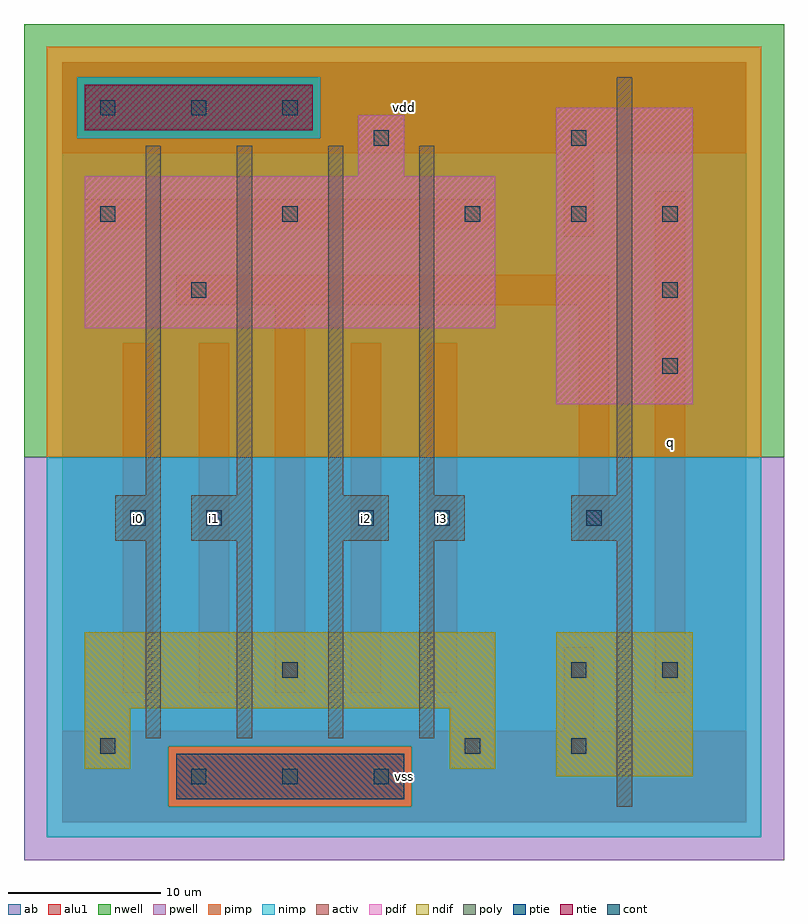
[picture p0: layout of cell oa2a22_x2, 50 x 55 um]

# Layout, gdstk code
import gdstk
lib = gdstk.Library(unit=1e-6, precision=1e-09)
def R(c, l, rs):  # rectangles x0, y0, x1, y1
    for r in rs: c.add(gdstk.rectangle(r[:2], r[2:], *l))
def A(c, l, x, y, w, h, nx, ny, dx, dy):  # array of equal rectangles
    R(c, l, [(x+i*dx, y+j*dy, x+i*dx+w, y+j*dy+h) for i in range(nx) for j in range(ny)])
ndif = (3, 0)
pdif = (4, 0)
ntie = (5, 0)
ptie = (6, 0)
cont = (25, 0)
pwell = (41, 0)
nwell = (42, 0)
activ = (43, 0)
pimp = (44, 0)
nimp = (45, 0)
poly = (46, 0)
alu1 = (49, 0)
ab = (63, 0)

oa2a22_x2 = lib.new_cell('oa2a22_x2')
R(oa2a22_x2, ndif, [(32.5,3,41.5,12.5), (1.5,3.5,4.5,7.5), (25.5,3.5,28.5,7.5), (1.5,7.5,28.5,12.5)])
R(oa2a22_x2, pdif, [(32.5,27.5,41.5,47), (1.5,32.5,28.5,42.5), (19.5,42.5,22.5,46.5)])
R(oa2a22_x2, ntie, [(1.5,45.5,16.5,48.5)])
R(oa2a22_x2, ptie, [(7.5,1.5,22.5,4.5)])
A(oa2a22_x2, cont, 8.5, 2.5, 1, 1, 3, 1, 6, 0)
A(oa2a22_x2, cont, 39.5, 29.5, 1, 1, 1, 3, 0, 5)
A(oa2a22_x2, cont, 2.5, 39.5, 1, 1, 3, 1, 12, 0)
A(oa2a22_x2, cont, 2.5, 46.5, 1, 1, 3, 1, 6, 0)
R(oa2a22_x2, cont, [(2.5,4.5,3.5,5.5), (26.5,4.5,27.5,5.5), (33.5,4.5,34.5,5.5), (14.5,9.5,15.5,10.5), (33.5,9.5,34.5,10.5), (39.5,9.5,40.5,10.5), (4.5,19.5,5.5,20.5), (9.5,19.5,10.5,20.5), (19.5,19.5,20.5,20.5), (24.5,19.5,25.5,20.5), (34.5,19.5,35.5,20.5), (8.5,34.5,9.5,35.5), (33.5,39.5,34.5,40.5), (20.5,44.5,21.5,45.5), (33.5,44.5,34.5,45.5)])
R(oa2a22_x2, pwell, [(-2.5,-2.5,47.5,24)])
R(oa2a22_x2, nwell, [(-2.5,24,47.5,52.5)])
R(oa2a22_x2, activ, [(7.5,1.5,22.5,4.5), (32.5,3,41.5,12.5), (1.5,3.5,4.5,7.5), (25.5,3.5,28.5,7.5), (1.5,7.5,28.5,12.5), (32.5,27.5,41.5,47), (1.5,32.5,28.5,42.5), (19.5,42.5,22.5,46.5), (1.5,45.5,16.5,48.5)])
R(oa2a22_x2, pimp, [(7,1,23,5), (-1,24,46,45), (-1,45,1,49), (17,45,46,49), (-1,49,46,51)])
R(oa2a22_x2, nimp, [(-1,-1,46,1), (-1,1,7,5), (23,1,46,5), (-1,5,46,24), (1,45,17,49)])
A(oa2a22_x2, poly, 5.5, 5.5, 1, 13, 4, 1, 6, 0)
A(oa2a22_x2, poly, 5.5, 21.5, 1, 23, 4, 1, 6, 0)
R(oa2a22_x2, poly, [(36.5,1,37.5,18.5), (3.5,18.5,6.5,21.5), (8.5,18.5,12.5,21.5), (17.5,18.5,21.5,21.5), (23.5,18.5,26.5,21.5), (33.5,18.5,37.5,21.5), (36.5,21.5,37.5,49)])
R(oa2a22_x2, alu1, [(0,0,45,6), (0,0,45,6), (33,6,35,11.5), (33,6,35,11.5), (4,8.5,6,31.5), (4,8.5,6,31.5), (9,8.5,11,31.5), (9,8.5,11,31.5), (14,8.5,16,34), (14,8.5,16,34), (19,8.5,21,31.5), (19,8.5,21,31.5), (24,8.5,26,31.5), (24,8.5,26,31.5), (39,8.5,41,41.5), (39,8.5,41,41.5), (34,18.5,36,34), (34,18.5,36,34), (7.5,34,36,36), (7.5,34,36,36), (33,38.5,35,44), (33,38.5,35,44), (1.5,39,28.5,41), (1.5,39,28.5,41), (0,44,45,50), (0,44,45,50)])
R(oa2a22_x2, ab, [(0,0,45,50)])
oa2a22_x2.add(gdstk.Label('i0', (5,20), layer=49, texttype=0))
oa2a22_x2.add(gdstk.Label('i1', (10,20), layer=49, texttype=0))
oa2a22_x2.add(gdstk.Label('i2', (20,20), layer=49, texttype=0))
oa2a22_x2.add(gdstk.Label('vss', (22.5,3), layer=49, texttype=0))
oa2a22_x2.add(gdstk.Label('i3', (25,20), layer=49, texttype=0))
oa2a22_x2.add(gdstk.Label('vdd', (22.5,47), layer=49, texttype=0))
oa2a22_x2.add(gdstk.Label('q', (40,25), layer=49, texttype=0))

lib.write_gds('oa2a22_x2.gds')
